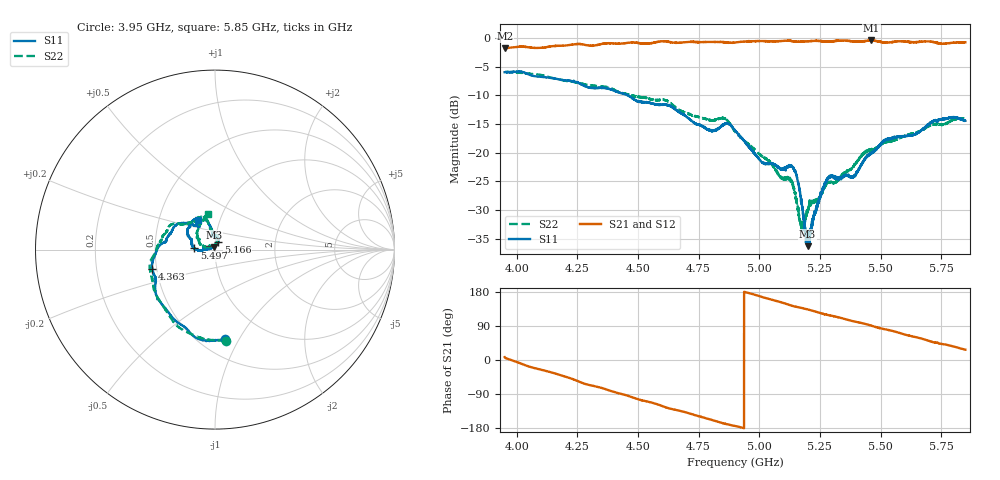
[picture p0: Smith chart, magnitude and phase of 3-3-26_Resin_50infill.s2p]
# GHZ S RI R 50.000000000000
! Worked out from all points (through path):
!   4501 points, 3.95 GHz to 5.85 GHz, reference 50 ohm
!   highest |S21| = -0.42 dB at 5.462 GHz (marker M1); lowest = -1.8 dB at 3.952 GHz (marker M2)
!   group delay of S21, straight-line fit = 491 ps
!   lowest |S11| = -36.3 dB at 5.199 GHz (marker M3), VSWR 1.03, Z = 49.4 + j1.39 ohm
!   |S11| at or under -10 dB: 4.456992 GHz to 4.457195 GHz (203.3 kHz wide, 0.00456 % of centre); 4.458 GHz to end of sweep
!   |S22| runs from -33.6 to -5.8 dB; largest |S21 - S12| = 0.067
!   S11 on the Smith chart (normalised r, x): 3.95 GHz: 0.65, -0.87; 4.363 GHz: 0.47, -0.12; 5.166 GHz: 1.03, +0.09; 5.497 GHz: 0.79, +0.01; 5.85 GHz: 0.79, +0.27
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3.95  0.0535 -0.5006  0.8052 0.1055  0.7956 0.0732  0.0615 -0.5067
3.951689  0.0518 -0.5018  0.8068 0.0837  0.7933 0.0766  0.0463 -0.5048
4.150133  -0.2389 -0.3773  0.7054 -0.4762  0.7012 -0.4623  -0.2563 -0.3668
4.267089  -0.3334 -0.2082  0.4466 -0.7624  0.4626 -0.7668  -0.3424 -0.2083
4.362511  -0.3515 -0.1068  0.2136 -0.8722  0.2308 -0.8486  -0.3638 -0.0992
4.467644  -0.3062 0.0256  -0.1028 -0.9079  -0.0821 -0.9195  -0.3176 0.0234
4.583756  -0.2434 0.0953  -0.4321 -0.8227  -0.3937 -0.833  -0.2672 0.1036
4.726467  -0.1231 0.1393  -0.7457 -0.5485  -0.7318 -0.558  -0.1534 0.1447
4.9  -0.0376 0.151  -0.9087 -0.0992  -0.9058 -0.1226  -0.0378 0.1476
5.014422  -0.0141 0.0801  -0.9132 0.231  -0.9174 0.1939  -0.00226 0.0924
5.128844  0.00159 0.0758  -0.771 0.5501  -0.7971 0.5135  0.00825 0.0575
5.166  0.0189 0.0433  -0.6963 0.6134  -0.7165 0.5863  -7.37e-05 0.0255
5.179089  0.011 0.0296  -0.6757 0.6359  -0.6954 0.611  -0.00786 0.0194
5.199356  -0.00591 0.0141  -0.6436 0.6793  -0.6684 0.6513  -0.0238 0.0209
5.217089  -0.022 0.00772  -0.6121 0.7182  -0.6408 0.6849  -0.0323 0.0184
5.282533  -0.0591 0.00129  -0.4497 0.8195  -0.4757 0.8097  -0.0529 0.013
5.388089  -0.0606 0.00417  -0.199 0.9146  -0.2312 0.9039  -0.0725 0.0228
5.461978  -0.0986 0.000646  -0.00828 0.9531  -0.0629 0.9483  -0.0879 0.0576
5.4966  -0.1157 0.00831  0.1015 0.9232  0.0521 0.9366  -0.0976 0.0631
5.533756  -0.1284 0.0289  0.1739 0.8987  0.1325 0.9063  -0.0977 0.0776
5.708556  -0.1539 0.1003  0.6171 0.6993  0.5753 0.7314  -0.0737 0.1588
5.85  -0.092 0.1657  0.8173 0.4188  0.7943 0.4586  -0.0368 0.1957
